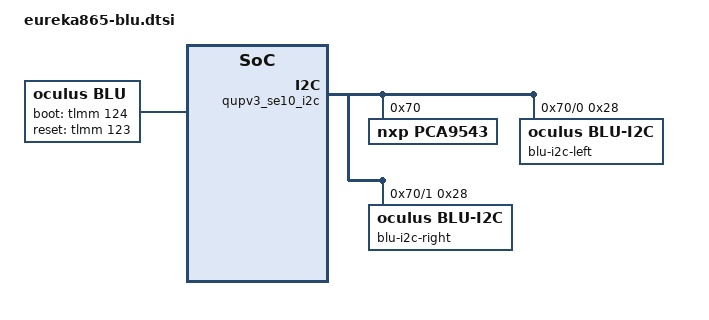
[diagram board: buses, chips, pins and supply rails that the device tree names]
// SPDX-License-Identifier: GPL-2.0

&qupv3_se10_i2c {
	status = "ok";

	pca9543: pca9543@70 {
		compatible = "nxp,pca9543";
		reg = <0x70>;
		#address-cells = <1>;
		#size-cells = <0>;

		i2c@0 {
			reg = <0>;
			#address-cells = <1>;
			#size-cells = <0>;

			blu-i2c-left@28 {
				compatible = "oculus,blu-i2c";
				reg = <0x28>;
				status = "ok";
			};
		};

		i2c@1 {
			reg = <1>;
			#address-cells = <1>;
			#size-cells = <0>;

			blu-i2c-right@28 {
				compatible = "oculus,blu-i2c";
				reg = <0x28>;
				status = "ok";
			};
		};
	};
};

&vendor {
	blu: oculus,blu {
		status = "ok";
		compatible = "oculus,blu";
		boot-gpios = <&tlmm 124 GPIO_ACTIVE_HIGH>;
		reset-gpios = <&tlmm 123 GPIO_ACTIVE_HIGH>;
	};
};
